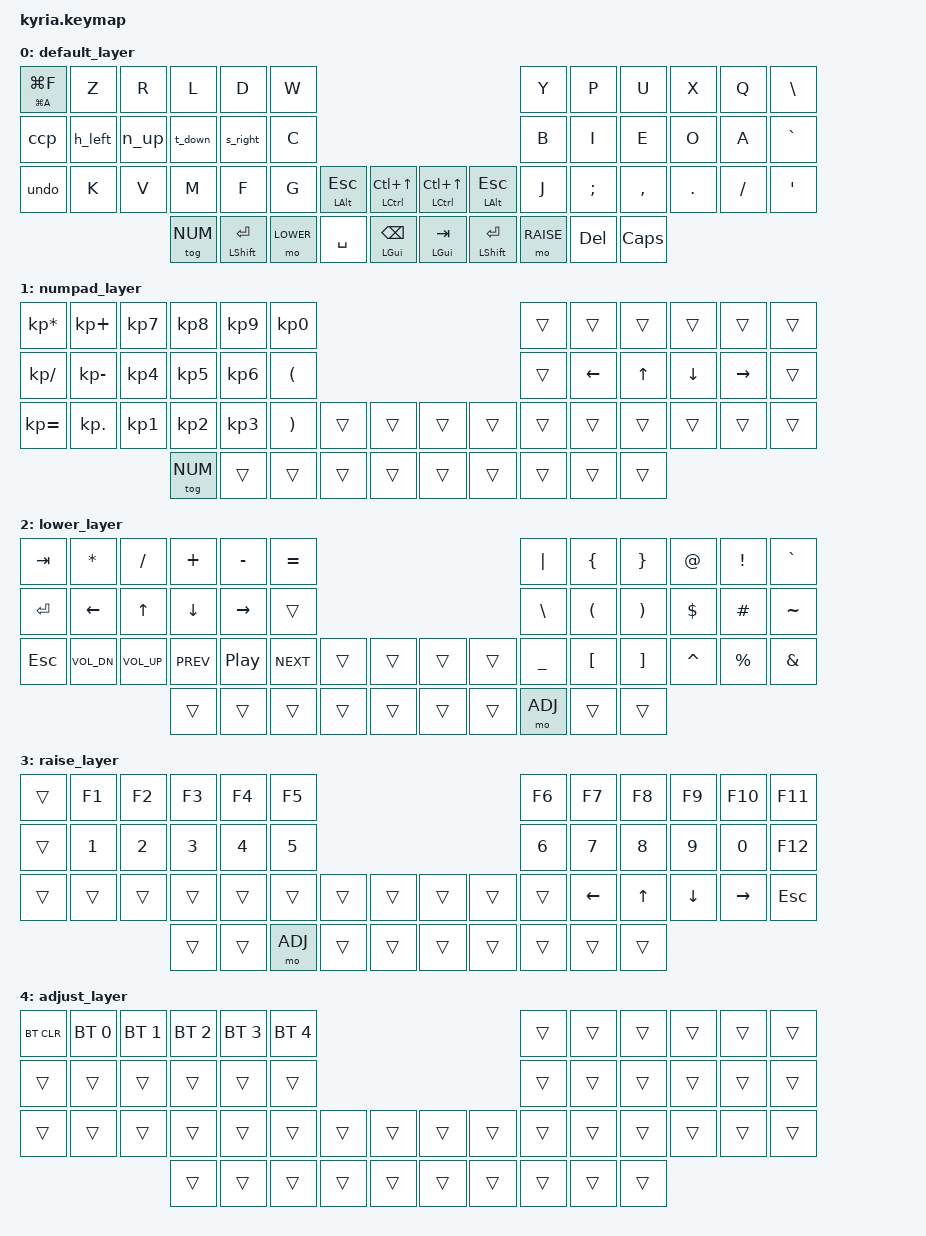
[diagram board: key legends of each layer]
/*
  * Copyright (c) 2020 The ZMK Contributors
  *
  * SPDX-License-Identifier: MIT
  */

 #include <behaviors.dtsi>
 #include <dt-bindings/zmk/keys.h>
 #include <dt-bindings/zmk/bt.h>

 #define DEFAULT 0
 #define NUM 1
 #define LOWER 2
 #define RAISE 3
 #define ADJ 4

 #define FIND &mt LG(A) LG(F)
 #define COPY &mt LG(C) LG(V)
 #define MSS_CTL &mt LCTL LC(UP)
 #define BSP_CMD &mt LGUI BSPC
 #define TAB_CMD &mt LGUI TAB
 #define SFT_ENT &mt LSHIFT ENTER
 #define ALT_ESC &mt LALT ESC
 #define _________ &trans

 &mt {
    quick_tap_ms = <200>;
 };


 / {

 behaviors {
     s_right: s_right {
         compatible = "zmk,behavior-mod-morph";
         label = "S_RIGHT";
         #binding-cells = <0>;
         bindings = <&kp S>, <&kp RIGHT>;
         mods = <MOD_LCTL>;
      };
     t_down: t_down {
         compatible = "zmk,behavior-mod-morph";
         label = "T_DOWN";
         #binding-cells = <0>;
         bindings = <&kp T>, <&kp DOWN>;
         mods = <MOD_LCTL>;
      };
     n_up: n_up {
         compatible = "zmk,behavior-mod-morph";
         label = "N_UP";
         #binding-cells = <0>;
         bindings = <&kp N>, <&kp UP>;
         mods = <MOD_LCTL>;
      };
     h_left: h_left {
         compatible = "zmk,behavior-mod-morph";
         label = "H_LEFT";
         #binding-cells = <0>;
         bindings = <&kp H>, <&kp LEFT>;
         mods = <MOD_LCTL>;
      };
     undo: undo_redo {
        compatible = "zmk,behavior-mod-morph";
        label = "UNDO_REDO";
        #binding-cells = <0>;
        bindings = <&kp LG(Z)>, <&kp Y>;
        mods = <MOD_LGUI>;
      };
     ccp: copy_cut_paste {
        compatible = "zmk,behavior-mod-morph";
        label = "COPY_CUT_PASTE";
        #binding-cells = <0>;
        bindings = <COPY>, <&kp X>;
        mods = <MOD_LGUI>;
     };
  };



 	keymap {
 		compatible = "zmk,keymap";

/*
 * Default: HNTS
 *
 * ,-----------------------------------------------.                                  ,-----------------------------------------------.
 * |  Find |   Z   |   R   |   L   |   D   |   W   |                                  |   Y   |   P   |   U   |   X   |   Q   |  | \  |
 * |-------+-------+-------+-------+-------+-------|                                  |-------+-------+-------+-------+-------+-------|
 * |Cpy/Pst|   H   |   N   |   T   |   S   |   C   |                                  |   B   |   I   |   E   |   O   |   A   |  ` ~  |
 * |-------+-------+-------+-------+-------+-------+---------------.  ,---------------+-------+-------+-------+-------+-------+-------|
 * |  Undo |   K   |   V   |   M   |   F   |   G   |  Esc  |MssnCtl|  |MssnCtl|  Esc  |   J   |  ; :  |  , <  |  . >  |  / ?  |  ' "  |
 * `-------+-------+-------+-------+-------+-------+-------+-------|  |-------+-------+-------+-------+-------+-----------------------'
 *                         | Numpad| Enter | Lower | Space | BSPC  |  |  Tab  | Shift | Raise |  Del  | Caps  |
 *                         `---------------------------------------'  `---------------------------------------'
 */

  default_layer {
 	bindings = <
 	FIND      &kp Z     &kp R     &kp L     &kp D     &kp W                                             &kp Y     &kp P     &kp U     &kp X     &kp Q     &kp BSLH
 	&ccp      &h_left   &n_up     &t_down   &s_right  &kp C                                             &kp B     &kp I     &kp E     &kp O     &kp A     &kp GRAVE
 	&undo     &kp K     &kp V     &kp M     &kp F     &kp G     ALT_ESC   MSS_CTL   MSS_CTL   ALT_ESC   &kp J     &kp SEMI  &kp COMMA &kp DOT   &kp FSLH  &kp SQT
 	                              &tog NUM  SFT_ENT   &mo LOWER &kp SPACE BSP_CMD   TAB_CMD   SFT_ENT   &mo RAISE &kp DEL   &kp CAPS
 			>;
 	    };

/*
 * Numpad
 *
 * ,-----------------------------------------------.                                  ,-----------------------------------------------.
 * |   *   |   +   |   7   |   8   |   9   |   0   |                                  |       |       |       |       |       |       |
 * |-------+-------+-------+-------+-------+-------|                                  |-------+-------+-------+-------+-------+-------|
 * |   /   |   -   |   4   |   5   |   6   |   (   |                                  |       | Left  |  Up   | Down  | Right |       |
 * |-------+-------+-------+-------+-------+-------+---------------.  ,---------------+-------+-------+-------+-------+-------+-------|
 * |   =   |   .   |   1   |   2   |   3   |   )   |       |       |  |       |       |       |       |       |       |       |       |
 * `-------+-------+-------+-------+-------+-------+-------+-------|  |-------+-------+-------+-------+-------+-----------------------'
 *                         |       |       |       |       |       |  |       |       |       |       |       |
 *                         `---------------------------------------'  `---------------------------------------'
 */

  numpad_layer {
  bindings = <
 	&kp KP_MULTIPLY &kp KP_PLUS  &kp KP_N7 &kp KP_N8 &kp KP_N9 &kp KP_N0                                           _________ _________ _________ _________ _________ _________
 	&kp KP_DIVIDE   &kp KP_MINUS &kp KP_N4 &kp KP_N5 &kp KP_N6 &kp LPAR                                            _________ &kp LEFT  &kp UP    &kp DOWN  &kp RIGHT _________
 	&kp KP_EQUAL    &kp KP_DOT   &kp KP_N1 &kp KP_N2 &kp KP_N3 &kp RPAR  _________ _________   _________ _________ _________ _________ _________ _________ _________ _________
 	                             &tog NUM  _________ _________ _________ _________ _________   _________ _________ _________ _________
 			>;
 	    };

/*
 * Lower: Symbols & Media
 *
 * ,-----------------------------------------------.                                  ,-----------------------------------------------.
 * |  Tab  |   *   |   /   |   +   |   -   |   =   |                                  |   |   |   {   |   }   |   @   |   !   |   `   |
 * |-------+-------+-------+-------+-------+-------|                                  |-------+-------+-------+-------+-------+-------|
 * | Enter | Left  |  Up   | Down  | Right |       |                                  |   \   |   (   |   )   |   $   |   #   |   ~   |
 * |-------+-------+-------+-------+-------+-------+---------------.  ,---------------+-------+-------+-------+-------+-------+-------|
 * |  Esc  | Vol-  | Vol+  | Prev  | Play  |  Next |       |       |  |       |       |   _   |   [   |   ]   |   ^   |   %   |   &   |
 * `-------+-------+-------+-------+-------+-------+-------+-------|  |-------+-------+-------+-------+-------+-----------------------'
 *                         |       |       |       |       |       |  |       |       |       |       |       |
 *                         `---------------------------------------'  `---------------------------------------'
 */

  lower_layer {
 	bindings = <
 	&kp TAB   &kp ASTRK    &kp SLASH    &kp PLUS   &kp MINUS &kp EQUAL                                          &kp PIPE  &kp LBRC  &kp RBRC  &kp AT    &kp EXCL  &kp GRAVE
 	&kp ENTER &kp LEFT     &kp UP       &kp DOWN   &kp RIGHT _________                                          &kp BSLH  &kp LPAR  &kp RPAR  &kp DLLR  &kp HASH  &kp TILDE
 	&kp ESC   &kp C_VOL_DN &kp C_VOL_UP &kp C_PREV &kp C_PP  &kp C_NEXT _________ _________ _________ _________ &kp UNDER &kp LBKT  &kp RBKT  &kp CARET &kp PRCNT &kp AMPS
 	                                    _________  _________  _________ _________ _________ _________ _________ &mo ADJ   _________ _________
 			>;
 	    };

/*
 * Raise: Numbers
 *
 * ,-----------------------------------------------.                                  ,-----------------------------------------------.
 * |       |  F1   |  F2   |  F3   |  F4   |  F5   |                                  |   F6  |   F7  |   F8  |   F9  |  F10  |  F11  |
 * |-------+-------+-------+-------+-------+-------|                                  |-------+-------+-------+-------+-------+-------|
 * |       |   1   |   2   |   3   |   4   |   5   |                                  |   6   |   7   |   8   |   9   |   0   |  F12  |
 * |-------+-------+-------+-------+-------+-------+---------------.  ,---------------+-------+-------+-------+-------+-------+-------|
 * |       |       |       |       |       |       |       |       |  |       |       |       |  Left |   Up  |  Down | Right |  Esc  |
 * `-------+-------+-------+-------+-------+-------+-------+-------|  |-------+-------+-------+-------+-------+-----------------------'
 *                         |       |       |       |       |       |  |       |       |       |       |       |
 *                         `---------------------------------------'  `---------------------------------------'
 */

  raise_layer {
 	bindings = <
 	_________ &kp F1    &kp F2    &kp F3    &kp F4    &kp F5                                              &kp F6    &kp F7    &kp F8    &kp F9    &kp F10   &kp F11
 	_________ &kp N1    &kp N2    &kp N3    &kp N4    &kp N5                                              &kp N6    &kp N7    &kp N8    &kp N9    &kp N0    &kp F12
 	_________ _________ _________ _________ _________ _________ _________ _________   _________ _________ _________ &kp LEFT  &kp UP    &kp DOWN  &kp RIGHT &kp ESC
 	                              _________ _________ &mo ADJ   _________ _________   _________ _________ _________ _________ _________
 			>;
 	    };

/*
 * Adjust: Function Keys & RGB
 *
 * ,-----------------------------------------------.                                  ,-----------------------------------------------.
 * |       |       |       |       |       |       |                                  |       |       |       |       |       |       |
 * |-------+-------+-------+-------+-------+-------|                                  |-------+-------+-------+-------+-------+-------|
 * |       |       |       |       |       |       |                                  |       |       |       |       |       |       |
 * |-------+-------+-------+-------+-------+-------+---------------.  ,---------------+-------+-------+-------+-------+-------+-------|
 * |       |       |       |       |       |       |       |       |  |       |       |       |       |       |       |       |       |
 * `-------+-------+-------+-------+-------+-------+-------+-------|  |-------+-------+-------+-------+-------+-----------------------'
 *                         |       |       |       |       |       |  |       |       |       |       |       |
 *                         `---------------------------------------'  `---------------------------------------'
 */

  adjust_layer {
  bindings = <
 	&bt BT_CLR &bt BT_SEL 0 &bt BT_SEL 1 &bt BT_SEL 2 &bt BT_SEL 3 &bt BT_SEL 4                           _________ _________ _________ _________ _________ _________
 	_________ _________ _________ _________ _________ _________                                           _________ _________ _________ _________ _________ _________
 	_________ _________ _________ _________ _________ _________ _________ _________   _________ _________ _________ _________ _________ _________ _________ _________
 	                              _________ _________ _________ _________ _________   _________ _________ _________ _________ _________
 			>;
 	    };
 	};
 };
